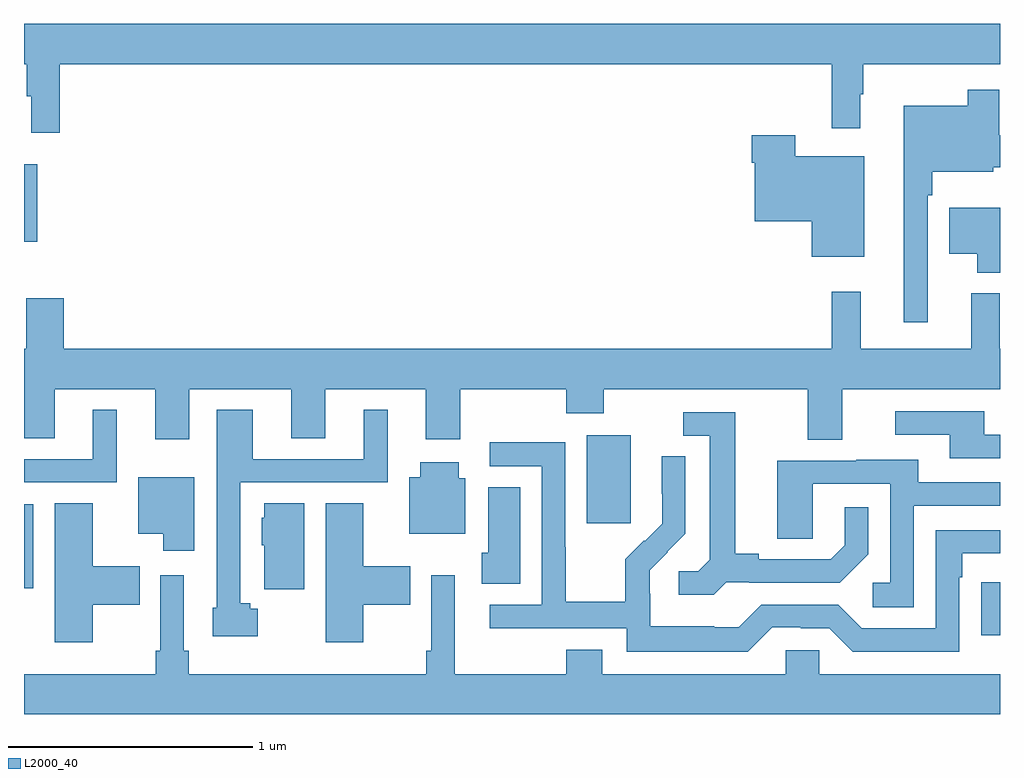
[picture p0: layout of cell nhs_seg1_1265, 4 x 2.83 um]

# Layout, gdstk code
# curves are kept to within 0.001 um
import gdstk
lib = gdstk.Library(unit=1e-6, precision=1e-09)
def R(c, l, rs):  # rectangles x0, y0, x1, y1
    for r in rs: c.add(gdstk.rectangle(r[:2], r[2:], *l))
def P(c, l, *ps):  # polygons
    for p in ps: c.add(gdstk.Polygon(p, *l))
L2000_40 = (2000, 40)

nhs_seg1_1265 = lib.new_cell('nhs_seg1_1265')
R(nhs_seg1_1265, L2000_40, [(182.923,562.71,183,562.928), (179,562.904,179.038,563.248), (181.307,563.169,181.486,563.53), (179,564.324,179.054,564.642)])
P(nhs_seg1_1265, L2000_40, [(179.147,565.052),(182.311,565.052),(182.311,564.789),(182.428,564.789),(182.428,564.929),(182.44,564.929),(182.44,565.052),(183,565.052),(183,565.216),(179,565.216),(179,565.052),(179.011,565.052),(179.011,564.92),(179.03,564.92),(179.03,564.771),(179.147,564.771)],
  [(182.703,564.515),(182.723,564.515),(182.723,564.611),(182.973,564.611),(182.973,564.629),(183,564.629),(183,564.759),(182.996,564.759),(182.996,564.946),(182.868,564.946),(182.868,564.88),(182.606,564.88),(182.606,563.994),(182.703,563.994)],
  [(182.443,564.673),(182.16,564.673),(182.16,564.76),(181.982,564.76),(181.982,564.647),(181.994,564.647),(181.994,564.407),(182.228,564.407),(182.228,564.263),(182.443,564.263)],
  [(183,564.463),(182.792,564.463),(182.792,564.275),(182.906,564.275),(182.906,564.197),(183,564.197)],
  [(182.353,563.72),(183,563.72),(183,563.884),(182.999,563.884),(182.999,564.112),(182.882,564.112),(182.882,563.884),(182.429,563.884),(182.429,564.118),(182.311,564.118),(182.311,563.884),(179.162,563.884),(179.162,564.091),(179.009,564.091),(179.009,563.884),(179,563.884),(179,563.518),(179.125,563.518),(179.125,563.72),(179.537,563.72),(179.537,563.514),(179.677,563.514),(179.677,563.72),(180.095,563.72),(180.095,563.518),(180.235,563.518),(180.235,563.72),(180.647,563.72),(180.647,563.514),(180.787,563.514),(180.787,563.72),(181.222,563.72),(181.222,563.621),(181.377,563.621),(181.377,563.72),(182.213,563.72),(182.213,563.512),(182.353,563.512)],
  [(179.959,562.82),(179.928,562.82),(179.928,562.841),(179.886,562.841),(179.886,563.337),(180.49,563.337),(180.49,563.635),(180.392,563.635),(180.392,563.433),(179.938,563.433),(179.938,563.635),(179.79,563.635),(179.79,563.03),(179.789,563.03),(179.789,562.824),(179.774,562.824),(179.774,562.706),(179.959,562.706)],
  [(179.38,563.635),(179.282,563.635),(179.282,563.433),(179,563.433),(179,563.337),(179.38,563.337)],
  [(183,563.532),(182.935,563.532),(182.935,563.628),(182.571,563.628),(182.571,563.532),(182.795,563.532),(182.795,563.436),(183,563.436)],
  [(181.878,562.929),(181.972,562.929),(181.972,562.926),(182.344,562.926),(182.46,563.042),(182.46,563.236),(182.363,563.236),(182.363,563.079),(182.306,563.022),(182.011,563.022),(182.011,563.045),(181.915,563.045),(181.915,563.625),(181.701,563.625),(181.701,563.529),(181.811,563.529),(181.811,563.021),(181.764,562.974),(181.683,562.974),(181.683,562.877),(181.826,562.877)],
  [(182.067,562.743),(182.183,562.743),(182.183,562.74),(182.301,562.74),(182.397,562.644),(182.832,562.644),(182.832,562.949),(182.845,562.949),(182.845,563.046),(183,563.046),(183,563.142),(182.736,563.142),(182.736,562.74),(182.433,562.74),(182.337,562.836),(182.022,562.836),(181.929,562.743),(181.829,562.743),(181.829,562.747),(181.566,562.747),(181.566,562.881),(181.564,562.881),(181.564,562.978),(181.71,563.126),(181.71,563.444),(181.614,563.444),(181.614,563.29),(181.616,563.29),(181.616,563.168),(181.545,563.097),(181.542,563.1),(181.465,563.023),(181.465,562.849),(181.221,562.849),(181.221,563.072),(181.218,563.072),(181.218,563.502),(180.909,563.502),(180.909,563.403),(181.122,563.403),(181.122,562.836),(180.909,562.836),(180.909,562.74),(181.47,562.74),(181.47,562.643),(181.967,562.643)],
  [(182.646,563.241),(183,563.241),(183,563.337),(182.665,563.337),(182.665,563.431),(182.411,563.431),(182.411,563.427),(182.087,563.427),(182.087,563.107),(182.232,563.107),(182.232,563.331),(182.55,563.331),(182.55,562.926),(182.478,562.926),(182.478,562.825),(182.646,562.825)],
  [(180.808,563.355),(180.781,563.355),(180.781,563.419),(180.623,563.419),(180.623,563.359),(180.578,563.359),(180.578,563.126),(180.808,563.126)],
  [(179.698,563.359),(179.468,563.359),(179.468,563.126),(179.57,563.126),(179.57,563.057),(179.698,563.057)],
  [(181.033,563.318),(180.902,563.318),(180.902,563.049),(180.875,563.049),(180.875,562.921),(181.033,562.921)],
  [(179.281,562.835),(179.474,562.835),(179.474,562.993),(179.281,562.993),(179.281,563.252),(179.126,563.252),(179.126,562.683),(179.281,562.683)],
  [(180.148,563.252),(179.984,563.252),(179.984,563.193),(179.975,563.193),(179.975,563.079),(179.985,563.079),(179.985,562.899),(180.148,562.899)],
  [(180.391,562.835),(180.584,562.835),(180.584,562.993),(180.391,562.993),(180.391,563.252),(180.236,563.252),(180.236,562.683),(180.391,562.683)],
  [(182.121,562.65),(182.121,562.552),(181.369,562.552),(181.369,562.651),(181.222,562.651),(181.222,562.552),(180.766,562.552),(180.766,562.957),(180.669,562.957),(180.669,562.648),(180.649,562.648),(180.649,562.552),(179.675,562.552),(179.675,562.648),(179.655,562.648),(179.655,562.957),(179.559,562.957),(179.559,562.648),(179.539,562.648),(179.539,562.552),(179,562.552),(179,562.388),(183,562.388),(183,562.552),(182.259,562.552),(182.259,562.65)])

lib.write_gds('nhs_seg1_1265.gds')
